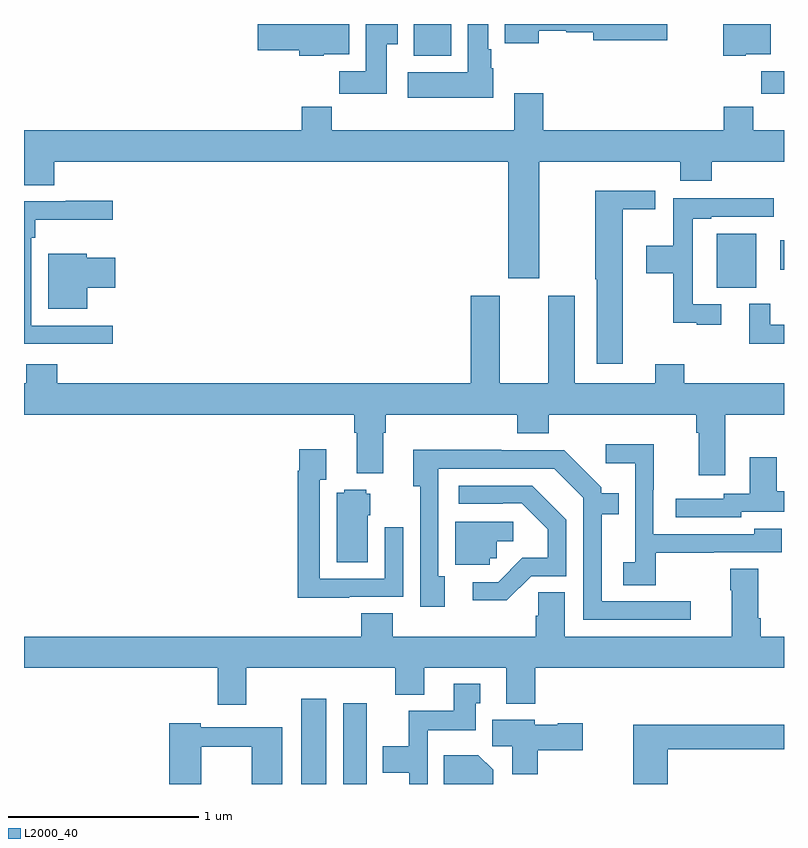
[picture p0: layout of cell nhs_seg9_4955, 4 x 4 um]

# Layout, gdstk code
import gdstk
lib = gdstk.Library(unit=1e-6, precision=1e-09)
def R(c, l, rs):  # rectangles x0, y0, x1, y1
    for r in rs: c.add(gdstk.rectangle(r[:2], r[2:], *l))
def P(c, l, *ps):  # polygons
    for p in ps: c.add(gdstk.Polygon(p, *l))
L2000_40 = (2000, 40)

nhs_seg9_4955 = lib.new_cell('nhs_seg9_4955')
R(nhs_seg9_4955, L2000_40, [(400.46,1170.5,400.591,1170.949), (400.679,1170.5,400.804,1170.925), (402.647,1173.113,402.853,1173.397), (402.981,1173.207,403,1173.363), (402.88,1174.134,403,1174.252), (401.051,1174.334,401.248,1174.5)])
P(nhs_seg9_4955, L2000_40, [(401.47,1174.266),(401.458,1174.266),(401.458,1174.366),(401.443,1174.366),(401.443,1174.5),(401.336,1174.5),(401.336,1174.246),(401.019,1174.246),(401.019,1174.112),(401.47,1174.112)],
  [(400.578,1174.34),(400.711,1174.34),(400.711,1174.5),(400.23,1174.5),(400.23,1174.363),(400.448,1174.363),(400.448,1174.334),(400.578,1174.334)],
  [(402.798,1174.34),(402.931,1174.34),(402.931,1174.5),(402.68,1174.5),(402.68,1174.334),(402.798,1174.334)],
  [(400.909,1174.393),(400.966,1174.393),(400.966,1174.5),(400.799,1174.5),(400.799,1174.252),(400.66,1174.252),(400.66,1174.134),(400.909,1174.134)],
  [(401.71,1174.464),(401.853,1174.464),(401.853,1174.456),(401.996,1174.456),(401.996,1174.414),(402.385,1174.414),(402.385,1174.5),(401.531,1174.5),(401.531,1174.4),(401.71,1174.4)],
  [(401.713,1173.776),(402.455,1173.776),(402.455,1173.674),(402.62,1173.674),(402.62,1173.776),(403,1173.776),(403,1173.94),(402.839,1173.94),(402.839,1174.064),(402.683,1174.064),(402.683,1173.94),(401.732,1173.94),(401.732,1174.135),(401.579,1174.135),(401.579,1173.94),(400.619,1173.94),(400.619,1174.064),(400.463,1174.064),(400.463,1173.94),(399,1173.94),(399,1173.652),(399.158,1173.652),(399.158,1173.776),(401.549,1173.776),(401.549,1173.162),(401.713,1173.162)],
  [(402.151,1173.524),(402.322,1173.524),(402.322,1173.622),(402.007,1173.622),(402.007,1173.157),(402.014,1173.157),(402.014,1172.712),(402.151,1172.712)],
  [(402.67,1173.024),(402.519,1173.024),(402.519,1173.474),(402.616,1173.474),(402.616,1173.486),(402.946,1173.486),(402.946,1173.584),(402.703,1173.584),(402.703,1173.582),(402.418,1173.582),(402.418,1173.334),(402.276,1173.334),(402.276,1173.187),(402.418,1173.187),(402.418,1172.927),(402.542,1172.927),(402.542,1172.916),(402.67,1172.916)],
  [(399.466,1172.913),(399.039,1172.913),(399.039,1173.374),(399.059,1173.374),(399.059,1173.47),(399.466,1173.47),(399.466,1173.571),(399.221,1173.571),(399.221,1173.567),(399,1173.567),(399,1172.817),(399.466,1172.817)],
  [(399.334,1173.113),(399.481,1173.113),(399.481,1173.271),(399.33,1173.271),(399.33,1173.292),(399.128,1173.292),(399.128,1173.002),(399.334,1173.002)],
  [(402.691,1172.444),(403,1172.444),(403,1172.608),(402.476,1172.608),(402.476,1172.71),(402.323,1172.71),(402.323,1172.608),(401.899,1172.608),(401.899,1173.07),(401.759,1173.07),(401.759,1172.608),(401.503,1172.608),(401.503,1173.07),(401.351,1173.07),(401.351,1172.608),(399.176,1172.608),(399.176,1172.71),(399.011,1172.71),(399.011,1172.608),(399,1172.608),(399,1172.444),(400.739,1172.444),(400.739,1172.348),(400.751,1172.348),(400.751,1172.135),(400.891,1172.135),(400.891,1172.348),(400.904,1172.348),(400.904,1172.444),(401.597,1172.444),(401.597,1172.345),(401.762,1172.345),(401.762,1172.444),(402.539,1172.444),(402.539,1172.348),(402.551,1172.348),(402.551,1172.124),(402.691,1172.124)],
  [(403,1172.918),(402.928,1172.918),(402.928,1173.028),(402.818,1173.028),(402.818,1172.817),(403,1172.817)],
  [(402.325,1171.717),(402.629,1171.717),(402.629,1171.719),(402.988,1171.719),(402.988,1171.843),(402.843,1171.843),(402.843,1171.815),(402.312,1171.815),(402.312,1172.048),(402.315,1172.048),(402.315,1172.287),(402.063,1172.287),(402.063,1172.189),(402.216,1172.189),(402.216,1171.668),(402.153,1171.668),(402.153,1171.546),(402.325,1171.546)],
  [(400.711,1171.485),(400.995,1171.485),(400.995,1171.852),(400.899,1171.852),(400.899,1171.581),(400.557,1171.581),(400.557,1172.102),(400.591,1172.102),(400.591,1172.263),(400.449,1172.263),(400.449,1172.15),(400.441,1172.15),(400.441,1171.481),(400.711,1171.481)],
  [(402.508,1171.461),(402.04,1171.461),(402.04,1171.92),(402.131,1171.92),(402.131,1172.029),(402.039,1172.029),(402.039,1172.061),(401.844,1172.256),(401.513,1172.256),(401.513,1172.258),(401.048,1172.258),(401.048,1172.066),(401.085,1172.066),(401.085,1171.434),(401.215,1171.434),(401.215,1171.594),(401.181,1171.594),(401.181,1172.16),(401.79,1172.16),(401.943,1172.007),(401.943,1171.365),(402.508,1171.365)],
  [(402.774,1171.932),(403,1171.932),(403,1172.041),(402.961,1172.041),(402.961,1172.221),(402.821,1172.221),(402.821,1172.028),(402.684,1172.028),(402.684,1172.001),(402.429,1172.001),(402.429,1171.905),(402.774,1171.905)],
  [(401.67,1171.593),(401.853,1171.593),(401.853,1171.891),(401.674,1172.07),(401.289,1172.07),(401.289,1171.974),(401.519,1171.974),(401.519,1171.977),(401.619,1171.977),(401.756,1171.84),(401.756,1171.69),(401.623,1171.69),(401.496,1171.563),(401.361,1171.563),(401.361,1171.466),(401.542,1171.466)],
  [(400.81,1171.914),(400.822,1171.914),(400.822,1172.028),(400.8,1172.028),(400.8,1172.05),(400.686,1172.05),(400.686,1172.032),(400.646,1172.032),(400.646,1171.666),(400.81,1171.666)],
  [(401.451,1171.689),(401.487,1171.689),(401.487,1171.778),(401.575,1171.778),(401.575,1171.881),(401.27,1171.881),(401.27,1171.653),(401.451,1171.653)],
  [(400.171,1171.112),(400.955,1171.112),(400.955,1170.971),(401.107,1170.971),(401.107,1171.112),(401.537,1171.112),(401.537,1170.923),(401.69,1170.923),(401.69,1171.112),(403,1171.112),(403,1171.276),(402.878,1171.276),(402.878,1171.372),(402.865,1171.372),(402.865,1171.633),(402.718,1171.633),(402.718,1171.52),(402.725,1171.52),(402.725,1171.276),(401.845,1171.276),(401.845,1171.508),(401.707,1171.508),(401.707,1171.386),(401.693,1171.386),(401.693,1171.276),(400.94,1171.276),(400.94,1171.4),(400.775,1171.4),(400.775,1171.276),(399,1171.276),(399,1171.112),(400.019,1171.112),(400.019,1170.918),(400.171,1170.918)],
  [(401.124,1170.782),(401.377,1170.782),(401.377,1170.924),(401.401,1170.924),(401.401,1171.027),(401.261,1171.027),(401.261,1170.886),(401.026,1170.886),(401.026,1170.7),(400.889,1170.7),(400.889,1170.56),(401.028,1170.56),(401.028,1170.5),(401.124,1170.5)],
  [(401.705,1170.677),(401.941,1170.677),(401.941,1170.819),(401.808,1170.819),(401.808,1170.811),(401.688,1170.811),(401.688,1170.838),(401.465,1170.838),(401.465,1170.7),(401.57,1170.7),(401.57,1170.552),(401.705,1170.552)],
  [(399.934,1170.697),(400.198,1170.697),(400.198,1170.5),(400.36,1170.5),(400.36,1170.798),(399.93,1170.798),(399.93,1170.819),(399.764,1170.819),(399.764,1170.5),(399.934,1170.5)],
  [(402.389,1170.682),(403,1170.682),(403,1170.811),(402.206,1170.811),(402.206,1170.5),(402.389,1170.5)],
  [(401.47,1170.574),(401.392,1170.652),(401.209,1170.652),(401.209,1170.5),(401.47,1170.5)])

lib.write_gds('nhs_seg9_4955.gds')
